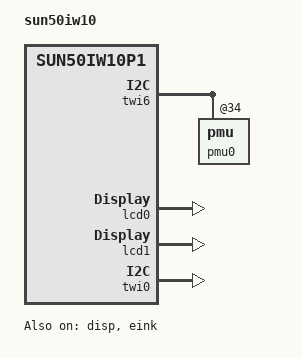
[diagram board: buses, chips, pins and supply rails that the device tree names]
/*
 * Allwinner Technology CO., Ltd. sun50iw10p1 platform
 *
 * modify base on juno.dts
 */
/dts-v1/;
#include <dt-bindings/interrupt-controller/arm-gic.h>
#include <dt-bindings/gpio/gpio.h>
/*#include "sun50iw10p1-pinctrl.dtsi"*/
#include <dt-bindings/thermal/thermal.h>
/ {
	model = "sun50iw10";
	compatible = "allwinner,a100", "arm,sun50iw10p1";
	#address-cells = <2>;
	#size-cells = <2>;
	aliases:aliases@45100000 {
	};
	soc: soc@29000000 {
		#address-cells = <2>;
		#size-cells = <2>;
		power_sply:power_sply@4500000c {
			device_type = "power_sply";

		};

		power_delay:power_delay@4500024 {
			device_type = "power_delay";
		};

		platform:platform@45000004 {
			device_type = "platform";

		};

		target:target@45000008 {
			device_type = "target";

		};

		charger0:charger0@45000010 {
			device_type = "charger0";

		};
		card_boot:card_boot@45000014 {
			device_type = "card_boot";
			logical_start   = <40960>;
			/* sprite_gpio0 = <&pio PH 6 1 0xffffffff 0xffffffff 1>; */
			sprite_gpio0 = <&pio 0x7 0x6 0x1 0xffffffff 0xffffffff 0x1>;
		};

		gpio_bias:gpio_bias@45000018 {
			device_type = "gpio_bias";
		};

		fastboot_key:fastboot_key@4500001c {
			device_type = "fastboot_key";
			key_max = <42>;
			key_min = <38>;
		};

		recovery_key:recovery_key@45000020 {
			device_type = "recovery_key";
			key_max = <31>;
			key_min = <28>;
		};

		pio: pinctrl@0300b000 {
			compatible = "allwinner,sun50iw10p1-pinctrl";
			device_type = "pio";
			gpio-controller;
			#size-cells = <0>;
			#gpio-cells = <6>;
			/* takes the debounce time in usec as argument */
			input-debounce = <0 0 0 0 0 0 0 0 0>;
			r_pio: pinctrl@07022000 {

				s_twi0_pins_a: s_twi0@0 {
					allwinner,pins = "PL0", "PL1";
					allwinner,pname = "s_twi0_scl", "s_twi0_sda";
					allwinner,function = "s_twi0";
					allwinner,muxsel = <2>;
					allwinner,drive = <1>;
					allwinner,pull = <1>;
				};

				s_twi0_pins_b: s_twi0@1 {
					allwinner,pins = "PL0", "PL1";
					allwinner,function = "gpio_out";
					allwinner,muxsel = <1>;
					allwinner,drive = <1>;
					allwinner,pull = <1>;
				};
			};

			twi0_pins_a: twi0@0 {
				allwinner,pins = "PH0", "PH1";
				allwinner,pname = "twi0_scl", "twi0_sda";
				allwinner,function = "twi0";
				allwinner,muxsel = <2>;
				allwinner,drive = <1>;
				allwinner,pull = <0>;
			};

			twi0_pins_b: twi0@1 {
				allwinner,pins = "PH0", "PH1";
				allwinner,function = "io_disabled";
				allwinner,muxsel = <7>;
				allwinner,drive = <1>;
				allwinner,pull = <0>;
			};
			sdc0_pins_a: sdc0@0 {
			};

			sdc0_pins_b: sdc0@1 {
			};

			sdc0_pins_c: sdc0@2 {
			};

			sdc2_pins_a: sdc2@0 {
			};

			sdc2_pins_b: sdc2@1 {
			};

			sdc2_pins_c: sdc2@2 {
			};

			nand0_pins_a: nand0@0 {
			};

			nand0_pins_b: nand0@1 {
			};

			nand0_pins_c: nand0@2 {
			};

			twi6: s_twi@0x07081400 {
				pmu0: pmu@34 {
				};
			};
			lvds0_pins_a: lvds0@0 {
			};
			lvds0_pins_b: lvds0@1 {
			};
			lvds1_pins_a: lvds1@0 {
			};
			lvds1_pins_b: lvds1@1 {
			};
			lvds2_pins_a: lvds2@0 {
			};
			lvds2_pins_b: lvds2@1 {
			};
			lvds3_pins_a: lvds3@0 {
			};
			lvds3_pins_b: lvds3@1 {
			};
			lcd1_lvds2link_pins_a: lcd1_lvds2link@0 {
			};
			lcd1_lvds2link_pins_b: lcd1_lvds2link@1 {
			};
			lvds2link_pins_a: lvds2link@0 {
			};
			lvds2link_pins_b: lvds2link@1 {
			};
			rgb24_pins_a: rgb24@0 {
			};
			rgb24_pins_b: rgb24@1 {
			};
			rgb18_pins_a: rgb18@0 {
			};
			rgb18_pins_b: rgb18@1 {
			};
			eink_pins_a: eink@0 {
			};
			eink_pins_b: eink@1 {
			};
			dsi4lane_pins_a: dsi4lane@0 {
			};
			dsi4lane_pins_b: dsi4lane@1 {
			};
			pwm0_pin_a: pwm0@0 {
			};

			pwm0_pin_b: pwm0@1 {
			};

			pwm1_pin_a: pwm1@0 {
			};

			pwm1_pin_b: pwm1@1 {
			};
		};

		pwm: pwm@300a000 {
		};

		pwm0: pwm0@300a010 {
		};

		pwm1: pwm1@300a011 {
		};

		pwm2: pwm2@300a012 {
		};

		pwm3: pwm3@300a013 {
		};

		pwm4: pwm4@300a014 {
		};

		pwm5: pwm5@300a015 {
		};

		pwm6: pwm6@300a016 {
		};

		pwm7: pwm7@300a017 {
		};

		pwm8: pwm8@300a018 {
		};

		pwm9: pwm9@300a019 {
		};

		card0_boot_para:card0_boot_para@2 {
			device_type = "card0_boot_para";
		};

		card2_boot_para:card2_boot_para@3 {
			device_type = "card2_boot_para";
		};

		nand0:nand0@04011000 {
			device_type = "nand0";
		};

		disp: disp@06100000 {
			compatible = "allwinner,sunxi-disp";
			reg = <0x0 0x06000000 0x0 0x3fffff>,//de0
			      <0x0 0x06800000 0x0 0x3fffff>,//de1
			      <0x0 0x06510000 0x0 0xfff>,//tcon-top0
			      <0x0 0x06d10000 0x0 0xfff>,//tcon-top1
			      <0x0 0x06511000 0x0 0xfff>,//tcon-lcd0
			      <0x0 0x06d11000 0x0 0xfff>,//tcon-lcd1
			      <0x0 0x06504000 0x0 0x1fff>;//dsi0
			interrupts = 	<GIC_SPI 69 IRQ_TYPE_LEVEL_HIGH>,
					<GIC_SPI 70 IRQ_TYPE_LEVEL_HIGH>,
					<GIC_SPI 68 IRQ_TYPE_LEVEL_HIGH>;
			interrupt-parent = <&gic>;
			clocks = <&clk_de0>,
				 <&clk_de1>,
				 <&clk_display_top>,
				 <&clk_dpss_top0>,
				 <&clk_dpss_top1>,
				 <&clk_tcon_lcd0>,
				 <&clk_tcon_lcd1>,
				 <&clk_lvds>,
				 <&clk_lvds1>,
				 <&clk_mipi_host>;
			boot_disp = <0>;
			boot_disp1 = <0>;
			boot_disp2 = <0>;
			fb_base = <0>;
			/* iommus = <&mmu_aw 0 0>; */
			status = "okay";
		};
		lcd0: lcd0@1c0c000 {
			#address-cells = <2>;
			#size-cells = <2>;
			compatible = "allwinner,sunxi-lcd0";
			reg = <0x0 0x1c0c000 0x0 0x0>;  /* Fake registers to avoid dtc compiling warnings */
			pinctrl-names = "active","sleep";
			status = "okay";
		};
		lcd0_1: lcd0_1@1c0c000 {
		};

		lcd1: lcd1@1 {
			compatible = "allwinner,sunxi-lcd1";
			reg = <0x0 0x1c0c000 0x0 0x0>;  /* Fake registers to avoid dtc compiling warnings */
			pinctrl-names = "active","sleep";
			status = "okay";
		};

		twi0: twi@5002000{
			compatible = "allwinner,sun50i-twi";
			pinctrl-names = "default", "sleep";
			status = "okay";

		};
		tps65185: tps65185@68 {
			compatible = "allwinner, tps65185";
			pinctrl-names = "active","sleep";
			status = "okay";
		};

		tps65185_slave: tps65185_slave@68{
			compatible = "allwinner, tps65185_slave";
			pinctrl-names = "active","sleep";
			status = "okay";
		};
		eink: eink@6400000 {
			compatible = "allwinner,sunxi-eink";
			pinctrl-names = "active","sleep";
			reg = <0x0 0x06400000 0x0 0x01ffff>,/* eink */
			      <0x0 0x06000000 0x0 0x3fffff>;/* de */
			interrupts = <GIC_SPI 90 IRQ_TYPE_LEVEL_HIGH>, /* eink */
				     <GIC_SPI 88 IRQ_TYPE_LEVEL_HIGH>; /* de */
			clocks = <&clk_de0>,
				 <&clk_ee>,
				 <&clk_panel>;
			/* iommus = <&mmu_aw 6 1>; */
			interrupt-parent = <&gic>;
			status = "okay";
		};
	};

	gic: interrupt-controller@3020000 {
		compatible = "arm,cortex-a15-gic", "arm,cortex-a9-gic";
		#interrupt-cells = <3>;
		#address-cells = <0>;
		device_type = "gic";
		interrupt-controller;
		reg = <0x0 0x03021000 0 0x1000>, /* GIC Dist */
		      <0x0 0x03022000 0 0x2000>, /* GIC CPU */
		      <0x0 0x03024000 0 0x2000>, /* GIC VCPU Control */
		      <0x0 0x03026000 0 0x2000>; /* GIC VCPU */
		interrupts = <GIC_PPI 9 0xf04>;  /* GIC Maintenence IRQ */
		interrupt-parent = <&gic>;
	};

};

#include "sun50iw10p1-clk.dtsi"
#include ".board-uboot.dts"
